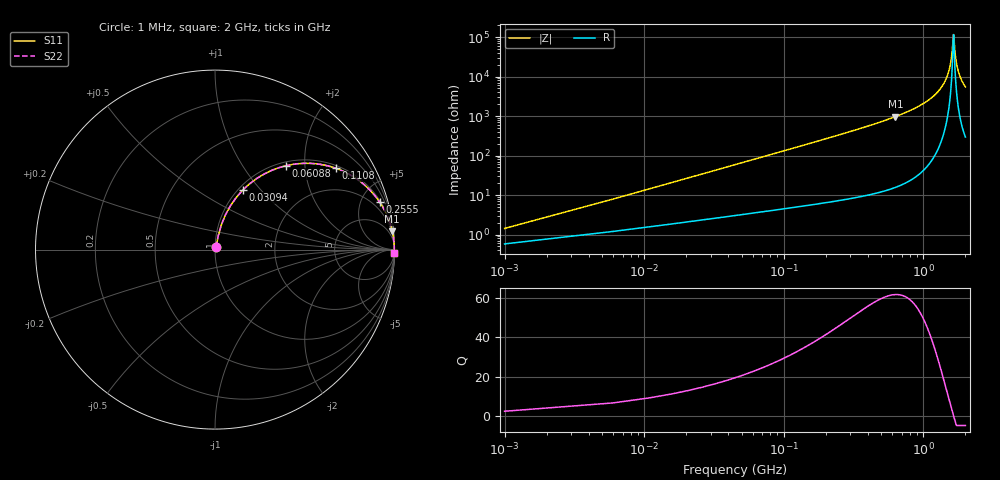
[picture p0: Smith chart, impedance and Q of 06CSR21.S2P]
! Coilcraft 0603CS-R21 Chip Inductor
! 1 August 2002
# MHZ S MA R 50
!Freq  MagS11  AngS11  MagS21  AngS21  MagS12  AngS12  MagS22  AngS22
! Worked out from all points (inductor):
!   402 points, 1 MHz to 2 GHz, reference 50 ohm
!   read as one part in series: L = 208 nH near 10.98 MHz
!   highest Q = 61.9 at 629.7 MHz (marker M1), where L = 244 nH
!   self-resonance near 1.643 GHz
!   S11 on the Smith chart (normalised r, x): 1 MHz: 1.01, +0.03; 30.94 MHz: 1.05, +0.81; 60.88 MHz: 1.07, +1.59; 110.8 MHz: 1.09, +2.91; 255.5 MHz: 1.15, +6.84; 2 GHz: open
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1  0.01421 65.4  0.9942 -0.7  0.9942 -0.7  0.01421 65.4
15.97  0.2015 73.3  0.9617 -11.6  0.9617 -11.6  0.2015 73.3
30.94  0.3677 64.9  0.9072 -21.5  0.9072 -21.5  0.3677 64.9
60.88  0.6106 49.9  0.7656 -37.6  0.7656 -37.6  0.6106 49.9
110.78  0.812 33.9  0.558 -54.2  0.558 -54.2  0.812 33.9
170.66  0.9055 23.7  0.4015 -64.8  0.4015 -64.8  0.9055 23.7
255.49  0.9543 16.2  0.2789 -72.6  0.2789 -72.6  0.9543 16.2
335.33  0.973 12.3  0.2128 -76.6  0.2128 -76.6  0.973 12.3
629.74  0.993 5.9  0.103 -83.2  0.103 -83.2  0.993 5.9
669.66  0.994 5.4  0.09475 -83.6  0.09475 -83.6  0.994 5.4
1003.99  0.9979 2.7  0.04773 -86.1  0.04773 -86.1  0.9979 2.7
1338.32  0.999 1.1  0.01933 -86.4  0.01933 -86.4  0.999 1.1
1458.08  0.9991 0.6  0.01127 -85.2  0.01127 -85.2  0.9991 0.6
1542.91  0.9991 0.3  0.006021 -81.7  0.006021 -81.7  0.9991 0.3
1592.81  0.9992 0.2  0.003117 -74.2  0.003117 -74.2  0.9992 0.2
1642.71  0.9991 0.0  0.0008617 -9.0  0.0008617 -9.0  0.9991 0.0
1652.69  0.9991 -0.0  0.0009548 26.6  0.0009548 26.6  0.9991 -0.0
1667.66  0.9991 -0.1  0.001529 55.8  0.001529 55.8  0.9991 -0.1
1707.58  0.9991 -0.2  0.003572 75.7  0.003572 75.7  0.9991 -0.2
1772.45  0.9991 -0.4  0.006992 82.3  0.006992 82.3  0.9991 -0.4
1867.26  0.999 -0.7  0.01184 84.8  0.01184 84.8  0.999 -0.7
2000  0.9988 -1.0  0.01829 85.9  0.01829 85.9  0.9988 -1.0
